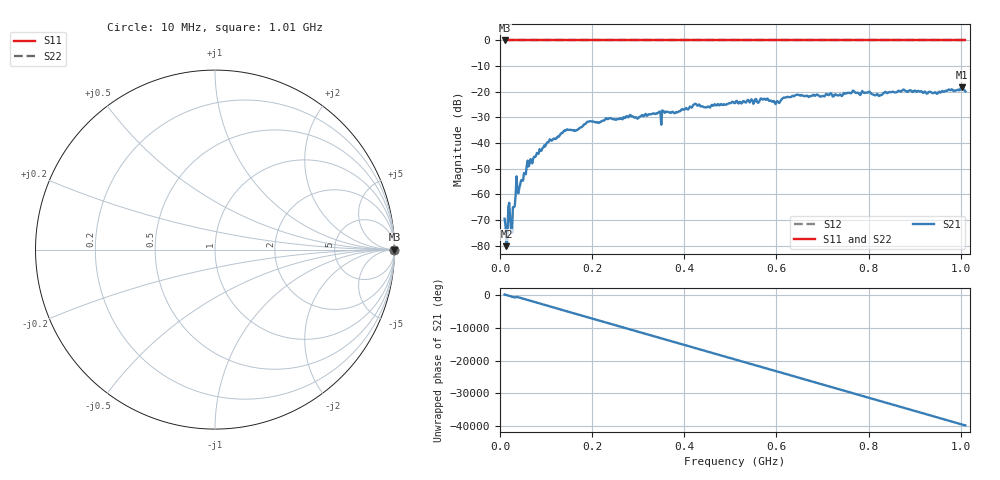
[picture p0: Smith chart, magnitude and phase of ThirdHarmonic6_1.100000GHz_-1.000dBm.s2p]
! 8/16/2025 10:20:34 AM
! C:\ANRITSUVNA\TEMP\TEMP.S2P
! CHANNEL.1
! TR.MEASUREMENT
! RAW.DATA
! RF.CORRECTION.OFF
! AVERAGING.OFF
! IF.BANDWIDTH: 5KHZ
! SWEEPTYPE:  FREQ.SWEEP(Linear)
! Reference Plane Port Info
! PORT:  PORT1  PORT2
! DISTANCE:  0  m  0  m
! TIME:  0  s  0  s
! PHASE.OFFSET:  0  deg.  0  deg.
! LOSS:  0  dB  0  dB
! REF.LOSS:  0  dB  0  dB
! REF.FREQ:  0  Hz  0  Hz
! Power Info
! POWER:  -20  dBm  -20  dBm
! EFF.POWER:  -20  dBm  -20  dBm
! SOURCE.ATTEN:  0  dB  0  dB
! TEST.ATTEN:  0  dB  0  dB
# GHZ S RI R 50.0
! FREQ.GHZ  S11RE  S11IM  S21RE  S21IM  S12RE  S12IM  S22RE  S22IM
!; PortSelection: Port_12
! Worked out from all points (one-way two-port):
!   501 points, 10 MHz to 1.01 GHz, reference 50 ohm
!   highest |S21| = -18.29 dB at 1.002 GHz (marker M1); lowest = -80.2 dB at 14 MHz (marker M2)
!   lowest |S11| = 0.0 dB at 10 MHz (marker M3)
!   |S11| at or under -10 dB: nowhere
!   |S22| runs from 0.0 to 0.0 dB; largest |S21 - S12| = 1.1
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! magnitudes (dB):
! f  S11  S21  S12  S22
! 10 MHz  0.0  -69.5  0.0  0.0
! 12 MHz  0.0  -72.3  0.0  0.0
! 14 MHz  0.0  -80.2  0.0  0.0
! 20 MHz  0.0  -63.3  0.0  0.0
! 28 MHz  0.0  -65.0  0.0  0.0
! 32 MHz  0.0  -64.6  0.0  0.0
! 38 MHz  0.0  -59.1  0.0  0.0
! 64 MHz  0.0  -48.4  0.0  0.0
! 106 MHz  0.0  -39.5  0.0  0.0
! 142 MHz  0.0  -35.2  0.0  0.0
! 178 MHz  0.0  -33.7  0.0  0.0
! 194 MHz  0.0  -31.5  0.0  0.0
! 344 MHz  0.0  -28.1  0.0  0.0
! 510 MHz  0.0  -24.4  0.0  0.0
! 570 MHz  0.0  -23.1  0.0  0.0
! 602 MHz  0.0  -23.6  0.0  0.0
! 644 MHz  0.0  -21.2  0.0  0.0
! 678 MHz  0.0  -21.5  0.0  0.0
! 844 MHz  0.0  -20.1  0.0  0.0
! 946 MHz  0.0  -20.4  0.0  0.0
! 1.002 GHz  0.0  -18.3  0.0  0.0
! 1.01 GHz  0.0  -19.9  0.0  0.0
